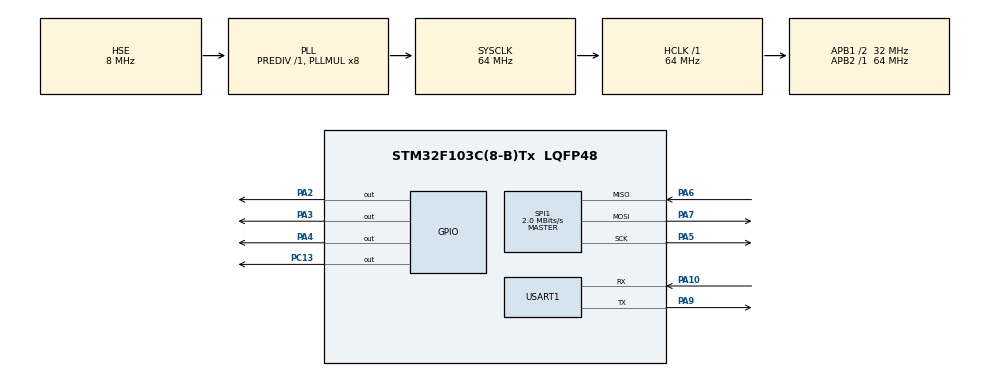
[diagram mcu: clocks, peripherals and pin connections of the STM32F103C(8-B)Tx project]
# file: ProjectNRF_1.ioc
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Mcu.Family=STM32F1
Mcu.Name=STM32F103C(8-B)Tx
Mcu.Package=LQFP48
NVIC.PriorityGroup=NVIC_PRIORITYGROUP_4
NVIC.USART1_IRQn=true\:0\:0\:false\:false\:true\:true
PA10.Mode=Asynchronous
PA10.Signal=USART1_RX
PA13.Mode=Serial_Wire
PA13.Signal=SYS_JTMS-SWDIO
PA14.Mode=Serial_Wire
PA14.Signal=SYS_JTCK-SWCLK
PA2.Signal=GPIO_Output
PA3.Signal=GPIO_Output
PA4.Signal=GPIO_Output
PA5.Mode=Full_Duplex_Master
PA5.Signal=SPI1_SCK
PA6.Mode=Full_Duplex_Master
PA6.Signal=SPI1_MISO
PA7.Mode=Full_Duplex_Master
PA7.Signal=SPI1_MOSI
PA9.Mode=Asynchronous
PA9.Signal=USART1_TX
PC13-TAMPER-RTC.Signal=GPIO_Output
PD0-OSC_IN.Mode=HSE-External-Oscillator
PD0-OSC_IN.Signal=RCC_OSC_IN
PD1-OSC_OUT.Mode=HSE-External-Oscillator
PD1-OSC_OUT.Signal=RCC_OSC_OUT
ProjectManager.HeapSize=0x200
ProjectManager.StackSize=0x400
ProjectManager.TargetToolchain=MDK-ARM V5
RCC.AHBFreq_Value=64000000
RCC.APB1CLKDivider=RCC_HCLK_DIV2
RCC.APB1Freq_Value=32000000
RCC.APB1TimFreq_Value=64000000
RCC.APB2Freq_Value=64000000
RCC.APB2TimFreq_Value=64000000
RCC.HCLKFreq_Value=64000000
RCC.PLLMUL=RCC_PLL_MUL8
RCC.PLLSourceVirtual=RCC_PLLSOURCE_HSE
RCC.SYSCLKFreq_VALUE=64000000
RCC.SYSCLKSource=RCC_SYSCLKSOURCE_PLLCLK
RCC.USBFreq_Value=64000000
SPI1.BaudRatePrescaler=SPI_BAUDRATEPRESCALER_32
SPI1.CalculateBaudRate=2.0 MBits/s
SPI1.Direction=SPI_DIRECTION_2LINES
SPI1.Mode=SPI_MODE_MASTER
SPI1.VirtualType=VM_MASTER
USART1.VirtualMode=VM_ASYNC
board=custom

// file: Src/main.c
/**
  ******************************************************************************
  * @file           : main.c
  * @brief          : Main program body
  ******************************************************************************
  ** This notice applies to any and all portions of this file
  * that are not between comment pairs USER CODE BEGIN and
  * USER CODE END. Other portions of this file, whether
  * inserted by the user or by software development tools
  * are owned by their respective copyright owners.
  *
  * COPYRIGHT(c) 2018 STMicroelectronics
  *
  * Redistribution and use in source and binary forms, with or without modification,
  * are permitted provided that the following conditions are met:
  *   1. Redistributions of source code must retain the above copyright notice,
  *      this list of conditions and the following disclaimer.
  *   2. Redistributions in binary form must reproduce the above copyright notice,
  *      this list of conditions and the following disclaimer in the documentation
  *      and/or other materials provided with the distribution.
  *   3. Neither the name of STMicroelectronics nor the names of its contributors
  *      may be used to endorse or promote products derived from this software
  *      without specific prior written permission.
  *
  * THIS SOFTWARE IS PROVIDED BY THE COPYRIGHT HOLDERS AND CONTRIBUTORS "AS IS"
  * AND ANY EXPRESS OR IMPLIED WARRANTIES, INCLUDING, BUT NOT LIMITED TO, THE
  * IMPLIED WARRANTIES OF MERCHANTABILITY AND FITNESS FOR A PARTICULAR PURPOSE ARE
  * DISCLAIMED. IN NO EVENT SHALL THE COPYRIGHT HOLDER OR CONTRIBUTORS BE LIABLE
  * FOR ANY DIRECT, INDIRECT, INCIDENTAL, SPECIAL, EXEMPLARY, OR CONSEQUENTIAL
  * DAMAGES (INCLUDING, BUT NOT LIMITED TO, PROCUREMENT OF SUBSTITUTE GOODS OR
  * SERVICES; LOSS OF USE, DATA, OR PROFITS; OR BUSINESS INTERRUPTION) HOWEVER
  * CAUSED AND ON ANY THEORY OF LIABILITY, WHETHER IN CONTRACT, STRICT LIABILITY,
  * OR TORT (INCLUDING NEGLIGENCE OR OTHERWISE) ARISING IN ANY WAY OUT OF THE USE
  * OF THIS SOFTWARE, EVEN IF ADVISED OF THE POSSIBILITY OF SUCH DAMAGE.
  *
  ******************************************************************************
  */
#include "main.h"
#include "stm32f1xx_hal.h"

/* USER CODE BEGIN Includes */
#include "NRF24.h"
#include <string.h>
/* USER CODE END Includes */

SPI_HandleTypeDef hspi1;

UART_HandleTypeDef huart1;

/* USER CODE BEGIN PV */
/* Private variables ---------------------------------------------------------*/
char str1[20]={0};
uint8_t buf1[20]={0};
/* USER CODE END PV */

void SystemClock_Config(void);
static void MX_GPIO_Init(void);
static void MX_SPI1_Init(void);
static void MX_USART1_UART_Init(void);

/* USER CODE BEGIN PFP */
/* Private function prototypes -----------------------------------------------*/

/* USER CODE END PFP */

int main(void)
{
  /* USER CODE BEGIN 1 */
	uint8_t dt_reg=0;
  /* USER CODE END 1 */

  /* MCU Configuration----------------------------------------------------------*/

  /* Reset of all peripherals, Initializes the Flash interface and the Systick. */
  HAL_Init();

  /* Configure the system clock */
  SystemClock_Config();

  /* Initialize all configured peripherals */
  MX_GPIO_Init();
  MX_SPI1_Init();
  MX_USART1_UART_Init();
  /* USER CODE BEGIN 2 */
	NRF24_ini();
  /* USER CODE END 2 */

  /* Infinite loop */
  while (1)
  {

  /* USER CODE BEGIN 3 */
		HAL_Delay(1000);
		dt_reg = NRF24_ReadReg(CONFIG);
		sprintf(str1,"CONFIG: 0x%02X\r\n",dt_reg);
		HAL_UART_Transmit(&huart1,(uint8_t*)str1,strlen(str1),0x1000);
		dt_reg = NRF24_ReadReg(EN_AA);
		sprintf(str1,"EN_AA: 0x%02X\r\n",dt_reg);
		HAL_UART_Transmit(&huart1,(uint8_t*)str1,strlen(str1),0x1000);
		dt_reg = NRF24_ReadReg(EN_RXADDR);
		sprintf(str1,"EN_RXADDR: 0x%02X\r\n",dt_reg);
		HAL_UART_Transmit(&huart1,(uint8_t*)str1,strlen(str1),0x1000);
		dt_reg = NRF24_ReadReg(STATUS);
		sprintf(str1,"STATUS: 0x%02X\r\n",dt_reg);
		HAL_UART_Transmit(&huart1,(uint8_t*)str1,strlen(str1),0x1000);
		dt_reg = NRF24_ReadReg(RF_SETUP);
		sprintf(str1,"RF_SETUP: 0x%02X\r\n",dt_reg);
		HAL_UART_Transmit(&huart1,(uint8_t*)str1,strlen(str1),0x1000);
		NRF24_Read_Buf(TX_ADDR,buf1,3);
		sprintf(str1,"TX_ADDR: 0x%02X, 0x%02X, 0x%02X\r\n",buf1[0],buf1[1],buf1[2]);
		HAL_UART_Transmit(&huart1,(uint8_t*)str1,strlen(str1),0x1000);
		NRF24_Read_Buf(RX_ADDR_P1,buf1,3);
		sprintf(str1,"RX_ADDR: 0x%02X, 0x%02X, 0x%02X\r\n",buf1[0],buf1[1],buf1[2]);
		HAL_UART_Transmit(&huart1,(uint8_t*)str1,strlen(str1),0x1000);
  }
  /* USER CODE END 3 */

}

void SystemClock_Config(void)
{

  RCC_OscInitTypeDef RCC_OscInitStruct;
  RCC_ClkInitTypeDef RCC_ClkInitStruct;

    /**Initializes the CPU, AHB and APB busses clocks
    */
  RCC_OscInitStruct.OscillatorType = RCC_OSCILLATORTYPE_HSE;
  RCC_OscInitStruct.HSEState = RCC_HSE_ON;
  RCC_OscInitStruct.HSEPredivValue = RCC_HSE_PREDIV_DIV1;
  RCC_OscInitStruct.HSIState = RCC_HSI_ON;
  RCC_OscInitStruct.PLL.PLLState = RCC_PLL_ON;
  RCC_OscInitStruct.PLL.PLLSource = RCC_PLLSOURCE_HSE;
  RCC_OscInitStruct.PLL.PLLMUL = RCC_PLL_MUL8;
  if (HAL_RCC_OscConfig(&RCC_OscInitStruct) != HAL_OK)
  {
    _Error_Handler(__FILE__, __LINE__);
  }

    /**Initializes the CPU, AHB and APB busses clocks
    */
  RCC_ClkInitStruct.ClockType = RCC_CLOCKTYPE_HCLK|RCC_CLOCKTYPE_SYSCLK
                              |RCC_CLOCKTYPE_PCLK1|RCC_CLOCKTYPE_PCLK2;
  RCC_ClkInitStruct.SYSCLKSource = RCC_SYSCLKSOURCE_PLLCLK;
  RCC_ClkInitStruct.AHBCLKDivider = RCC_SYSCLK_DIV1;
  RCC_ClkInitStruct.APB1CLKDivider = RCC_HCLK_DIV2;
  RCC_ClkInitStruct.APB2CLKDivider = RCC_HCLK_DIV1;

  if (HAL_RCC_ClockConfig(&RCC_ClkInitStruct, FLASH_LATENCY_2) != HAL_OK)
  {
    _Error_Handler(__FILE__, __LINE__);
  }

    /**Configure the Systick interrupt time
    */
  HAL_SYSTICK_Config(HAL_RCC_GetHCLKFreq()/1000);

    /**Configure the Systick
    */
  HAL_SYSTICK_CLKSourceConfig(SYSTICK_CLKSOURCE_HCLK);

  /* SysTick_IRQn interrupt configuration */
  HAL_NVIC_SetPriority(SysTick_IRQn, 0, 0);
}

/* SPI1 init function */
static void MX_SPI1_Init(void)
{

  /* SPI1 parameter configuration*/
  hspi1.Instance = SPI1;
  hspi1.Init.Mode = SPI_MODE_MASTER;
  hspi1.Init.Direction = SPI_DIRECTION_2LINES;
  hspi1.Init.DataSize = SPI_DATASIZE_8BIT;
  hspi1.Init.CLKPolarity = SPI_POLARITY_LOW;
  hspi1.Init.CLKPhase = SPI_PHASE_1EDGE;
  hspi1.Init.NSS = SPI_NSS_SOFT;
  hspi1.Init.BaudRatePrescaler = SPI_BAUDRATEPRESCALER_32;
  hspi1.Init.FirstBit = SPI_FIRSTBIT_MSB;
  hspi1.Init.TIMode = SPI_TIMODE_DISABLE;
  hspi1.Init.CRCCalculation = SPI_CRCCALCULATION_DISABLE;
  hspi1.Init.CRCPolynomial = 10;
  if (HAL_SPI_Init(&hspi1) != HAL_OK)
  {
    _Error_Handler(__FILE__, __LINE__);
  }

}

/* USART1 init function */
static void MX_USART1_UART_Init(void)
{

  huart1.Instance = USART1;
  huart1.Init.BaudRate = 115200;
  huart1.Init.WordLength = UART_WORDLENGTH_8B;
  huart1.Init.StopBits = UART_STOPBITS_1;
  huart1.Init.Parity = UART_PARITY_NONE;
  huart1.Init.Mode = UART_MODE_TX_RX;
  huart1.Init.HwFlowCtl = UART_HWCONTROL_NONE;
  huart1.Init.OverSampling = UART_OVERSAMPLING_16;
  if (HAL_UART_Init(&huart1) != HAL_OK)
  {
    _Error_Handler(__FILE__, __LINE__);
  }

}

/** Configure pins as
        * Analog
        * Input
        * Output
        * EVENT_OUT
        * EXTI
*/
static void MX_GPIO_Init(void)
{

  GPIO_InitTypeDef GPIO_InitStruct;

  /* GPIO Ports Clock Enable */
  __HAL_RCC_GPIOC_CLK_ENABLE();
  __HAL_RCC_GPIOD_CLK_ENABLE();
  __HAL_RCC_GPIOA_CLK_ENABLE();

  /*Configure GPIO pin Output Level */
  HAL_GPIO_WritePin(GPIOC, GPIO_PIN_13, GPIO_PIN_RESET);

  /*Configure GPIO pin Output Level */
  HAL_GPIO_WritePin(GPIOA, GPIO_PIN_3|GPIO_PIN_4, GPIO_PIN_RESET);

  /*Configure GPIO pin : PC13 */
  GPIO_InitStruct.Pin = GPIO_PIN_13;
  GPIO_InitStruct.Mode = GPIO_MODE_OUTPUT_PP;
  GPIO_InitStruct.Pull = GPIO_NOPULL;
  GPIO_InitStruct.Speed = GPIO_SPEED_FREQ_LOW;
  HAL_GPIO_Init(GPIOC, &GPIO_InitStruct);

  /*Configure GPIO pin : PA2 */
  GPIO_InitStruct.Pin = GPIO_PIN_2;
  GPIO_InitStruct.Mode = GPIO_MODE_INPUT;
  GPIO_InitStruct.Pull = GPIO_NOPULL;
  HAL_GPIO_Init(GPIOA, &GPIO_InitStruct);

  /*Configure GPIO pins : PA3 PA4 */
  GPIO_InitStruct.Pin = GPIO_PIN_3|GPIO_PIN_4;
  GPIO_InitStruct.Mode = GPIO_MODE_OUTPUT_PP;
  GPIO_InitStruct.Pull = GPIO_NOPULL;
  GPIO_InitStruct.Speed = GPIO_SPEED_FREQ_LOW;
  HAL_GPIO_Init(GPIOA, &GPIO_InitStruct);

}

void _Error_Handler(char *file, int line)
{
  while(1)
  {
  }
}

/************************ (C) COPYRIGHT STMicroelectronics *****END OF FILE****/
